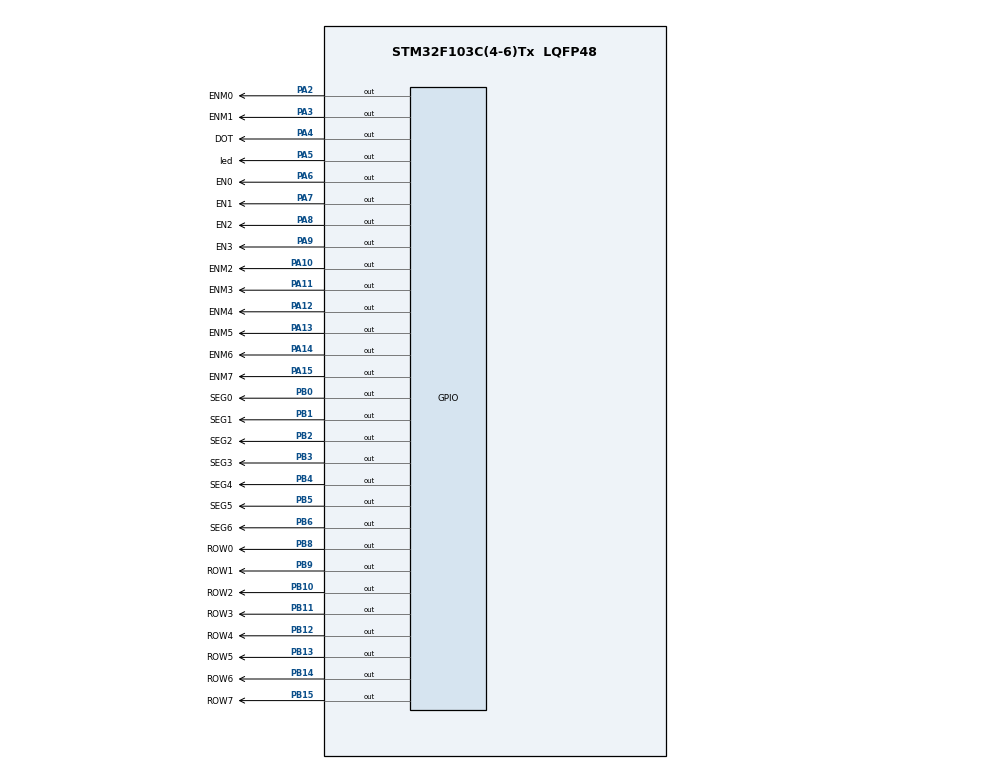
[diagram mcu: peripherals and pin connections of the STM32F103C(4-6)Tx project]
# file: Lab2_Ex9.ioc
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Mcu.Family=STM32F1
Mcu.Name=STM32F103C(4-6)Tx
Mcu.Package=LQFP48
NVIC.PriorityGroup=NVIC_PRIORITYGROUP_4
NVIC.TIM2_IRQn=true\:0\:0\:false\:false\:true\:true\:true
PA10.GPIO_Label=ENM2
PA10.Signal=GPIO_Output
PA11.GPIO_Label=ENM3
PA11.Signal=GPIO_Output
PA12.GPIO_Label=ENM4
PA12.Signal=GPIO_Output
PA13.GPIO_Label=ENM5
PA13.Signal=GPIO_Output
PA14.GPIO_Label=ENM6
PA14.Signal=GPIO_Output
PA15.GPIO_Label=ENM7
PA15.Signal=GPIO_Output
PA2.GPIO_Label=ENM0
PA2.Signal=GPIO_Output
PA3.GPIO_Label=ENM1
PA3.Signal=GPIO_Output
PA4.GPIO_Label=DOT
PA4.Signal=GPIO_Output
PA5.GPIO_Label=led
PA5.Signal=GPIO_Output
PA6.GPIO_Label=EN0
PA6.Signal=GPIO_Output
PA7.GPIO_Label=EN1
PA7.Signal=GPIO_Output
PA8.GPIO_Label=EN2
PA8.Signal=GPIO_Output
PA9.GPIO_Label=EN3
PA9.Signal=GPIO_Output
PB0.GPIO_Label=SEG0
PB0.Signal=GPIO_Output
PB1.GPIO_Label=SEG1
PB1.Signal=GPIO_Output
PB10.GPIO_Label=ROW2
PB10.Signal=GPIO_Output
PB11.GPIO_Label=ROW3
PB11.Signal=GPIO_Output
PB12.GPIO_Label=ROW4
PB12.Signal=GPIO_Output
PB13.GPIO_Label=ROW5
PB13.Signal=GPIO_Output
PB14.GPIO_Label=ROW6
PB14.Signal=GPIO_Output
PB15.GPIO_Label=ROW7
PB15.Signal=GPIO_Output
PB2.GPIO_Label=SEG2
PB2.Signal=GPIO_Output
PB3.GPIO_Label=SEG3
PB3.Signal=GPIO_Output
PB4.GPIO_Label=SEG4
PB4.Signal=GPIO_Output
PB5.GPIO_Label=SEG5
PB5.Signal=GPIO_Output
PB6.GPIO_Label=SEG6
PB6.Signal=GPIO_Output
PB8.GPIO_Label=ROW0
PB8.Signal=GPIO_Output
PB9.GPIO_Label=ROW1
PB9.Signal=GPIO_Output
ProjectManager.HeapSize=0x200
ProjectManager.StackSize=0x400
ProjectManager.TargetToolchain=STM32CubeIDE
RCC.APB1Freq_Value=8000000
RCC.APB2Freq_Value=8000000
TIM2.Period=1
TIM2.Prescaler=7999
VP_SYS_VS_ND.Mode=No_Debug
VP_TIM2_VS_ClockSourceINT.Mode=Internal
board=custom

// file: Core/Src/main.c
/* USER CODE BEGIN Header */
/**
  ******************************************************************************
  * @file           : main.c
  * @brief          : Main program body
  ******************************************************************************
  * @attention
  *
  * <h2><center>&copy; Copyright (c) 2021 STMicroelectronics.
  * All rights reserved.</center></h2>
  *
  * This software component is licensed by ST under BSD 3-Clause license,
  * the "License"; You may not use this file except in compliance with the
  * License. You may obtain a copy of the License at:
  *                        opensource.org/licenses/BSD-3-Clause
  *
  ******************************************************************************
  */
/* USER CODE END Header */
#include "main.h"

TIM_HandleTypeDef htim2;

void SystemClock_Config(void);
static void MX_GPIO_Init(void);
static void MX_TIM2_Init(void);

/* USER CODE BEGIN 0 */
const int MAX_LED_MATRIX = 8;
int index_led_matrix = 0;
uint8_t matrix_buffer[8] = { 0x18,0x24,0x42,0x42,0x7E,0x42,0x42,0x42};
int timer0_counter = 0;
int segcount = 0;
int timer0_flag = 0;
int timer1_flag = 0;
int TIMER_CYCLE = 1;
void setTimer0 ( int duration ) {
	 timer0_counter = duration / TIMER_CYCLE ;
	 timer0_flag = 0;
}
void timer_run () {
	 if( timer0_counter > 0) {
		 timer0_counter--;
		 if( timer0_counter == 0) timer0_flag = 1;
	 }
	 if( segcount > 0) {
		 segcount--;
		 if( segcount == 0) timer1_flag = 1;
	 }
 }

void selectCOL(int col){
	switch(col){
	case 0:
		 HAL_GPIO_WritePin(ENM0_GPIO_Port, ENM0_Pin, GPIO_PIN_RESET);
			break;
	case 1:
		 HAL_GPIO_WritePin(ENM1_GPIO_Port, ENM1_Pin, GPIO_PIN_RESET);
			break;
	case 2:
		 HAL_GPIO_WritePin(ENM2_GPIO_Port, ENM2_Pin, GPIO_PIN_RESET);
			break;
	case 3:
		 HAL_GPIO_WritePin(ENM3_GPIO_Port, ENM3_Pin, GPIO_PIN_RESET);
			break;
	case 4:
		 HAL_GPIO_WritePin(ENM4_GPIO_Port, ENM4_Pin, GPIO_PIN_RESET);
			break;
	case 5:
		 HAL_GPIO_WritePin(ENM5_GPIO_Port, ENM5_Pin, GPIO_PIN_RESET);
			break;
	case 6:
		 HAL_GPIO_WritePin(ENM6_GPIO_Port, ENM6_Pin, GPIO_PIN_RESET);
			break;
	case 7:
		 HAL_GPIO_WritePin(ENM7_GPIO_Port, ENM7_Pin, GPIO_PIN_RESET);
			break;
	default: break;
	}
}
void clearCOL(int col){
	switch(col){
		case 0:
			 HAL_GPIO_WritePin(ENM0_GPIO_Port, ENM0_Pin, GPIO_PIN_SET);
				break;
		case 1:
			 HAL_GPIO_WritePin(ENM1_GPIO_Port, ENM1_Pin, GPIO_PIN_SET);
				break;
		case 2:
			 HAL_GPIO_WritePin(ENM2_GPIO_Port, ENM2_Pin, GPIO_PIN_SET);
				break;
		case 3:
			 HAL_GPIO_WritePin(ENM3_GPIO_Port, ENM3_Pin, GPIO_PIN_SET);
				break;
		case 4:
			 HAL_GPIO_WritePin(ENM4_GPIO_Port, ENM4_Pin, GPIO_PIN_SET);
				break;
		case 5:
			 HAL_GPIO_WritePin(ENM5_GPIO_Port, ENM5_Pin, GPIO_PIN_SET);
				break;
		case 6:
			 HAL_GPIO_WritePin(ENM6_GPIO_Port, ENM6_Pin, GPIO_PIN_SET);
				break;
		case 7:
			 HAL_GPIO_WritePin(ENM7_GPIO_Port, ENM7_Pin, GPIO_PIN_SET);
				break;
		default: break;
		}
}
void displayDOT(uint8_t num, int row){
	switch(row){
	case 0:
			for(int i = 0; i<8; i++){
				if(num&0x80){
					selectCOL(i);
				}
				 num = num<<1;

			}
			HAL_GPIO_WritePin(ROW0_GPIO_Port, ROW0_Pin, GPIO_PIN_RESET);
			break;
	case 1:
		for(int i = 0; i<8; i++){
			if(num&0x80){
				selectCOL(i);
			}
			 num = num<<1;

		}
		HAL_GPIO_WritePin(ROW1_GPIO_Port, ROW1_Pin, GPIO_PIN_RESET);
			break;
	case 2:
		for(int i = 0; i<8; i++){
			if(num&0x80){
				selectCOL(i);
			}
			 num = num<<1;
		}
		HAL_GPIO_WritePin(ROW2_GPIO_Port, ROW2_Pin, GPIO_PIN_RESET);
			break;
	case 3:
		for(int i = 0; i<8; i++){
			if(num&0x80){
				selectCOL(i);
			}
			 num = num<<1;

		}
		HAL_GPIO_WritePin(ROW3_GPIO_Port, ROW3_Pin, GPIO_PIN_RESET);
			break;
	case 4:
		for(int i = 0; i<8; i++){
			if(num&0x80){
				selectCOL(i);
			}
			 num = num<<1;

		}
		HAL_GPIO_WritePin(ROW4_GPIO_Port, ROW4_Pin, GPIO_PIN_RESET);
			break;
	case 5:
		for(int i = 0; i<8; i++){
			if(num&0x80){
				selectCOL(i);
			}
			 num = num<<1;

		}
		HAL_GPIO_WritePin(ROW5_GPIO_Port, ROW5_Pin, GPIO_PIN_RESET);
			break;
	case 6:
		for(int i = 0; i<8; i++){
			if(num&0x80){
				selectCOL(i);
			}
			 num = num<<1;

		}
		HAL_GPIO_WritePin(ROW6_GPIO_Port, ROW6_Pin, GPIO_PIN_RESET);
			break;
	case 7:
		for(int i = 0; i<8; i++){
			if(num&0x80){
				selectCOL(i);
			}
			 num = num<<1;

		}
		HAL_GPIO_WritePin(ROW7_GPIO_Port, ROW7_Pin, GPIO_PIN_RESET);
			break;
	default: break;
	}
}
void clearAllPins(){
	  HAL_GPIO_WritePin(ROW0_GPIO_Port, ROW0_Pin, GPIO_PIN_SET);
	  HAL_GPIO_WritePin(ROW1_GPIO_Port, ROW1_Pin, GPIO_PIN_SET);
	  HAL_GPIO_WritePin(ROW2_GPIO_Port, ROW2_Pin, GPIO_PIN_SET);
	  HAL_GPIO_WritePin(ROW3_GPIO_Port, ROW3_Pin, GPIO_PIN_SET);
	  HAL_GPIO_WritePin(ROW4_GPIO_Port, ROW4_Pin, GPIO_PIN_SET);
	  HAL_GPIO_WritePin(ROW5_GPIO_Port, ROW5_Pin, GPIO_PIN_SET);
	  HAL_GPIO_WritePin(ROW6_GPIO_Port, ROW6_Pin, GPIO_PIN_SET);
	  HAL_GPIO_WritePin(ROW7_GPIO_Port, ROW7_Pin, GPIO_PIN_SET);

	  HAL_GPIO_WritePin(ENM0_GPIO_Port, ENM0_Pin, GPIO_PIN_SET);
	  HAL_GPIO_WritePin(ENM1_GPIO_Port, ENM1_Pin, GPIO_PIN_SET);
	  HAL_GPIO_WritePin(ENM2_GPIO_Port, ENM2_Pin, GPIO_PIN_SET);
	  HAL_GPIO_WritePin(ENM3_GPIO_Port, ENM3_Pin, GPIO_PIN_SET);
	  HAL_GPIO_WritePin(ENM4_GPIO_Port, ENM4_Pin, GPIO_PIN_SET);
	  HAL_GPIO_WritePin(ENM5_GPIO_Port, ENM5_Pin, GPIO_PIN_SET);
	  HAL_GPIO_WritePin(ENM6_GPIO_Port, ENM6_Pin, GPIO_PIN_SET);
	  HAL_GPIO_WritePin(ENM7_GPIO_Port, ENM7_Pin, GPIO_PIN_SET);
}
void clearDOT(uint8_t num, int row){

	switch(row){
		case 0:
			HAL_GPIO_WritePin(ROW0_GPIO_Port, ROW0_Pin, GPIO_PIN_SET);
				for(int i = 0; i<8; i++){
					if(num&0x80){
						clearCOL(i);
					}
					 num = num<<1;
				}
				break;
		case 1:
			HAL_GPIO_WritePin(ROW1_GPIO_Port, ROW1_Pin, GPIO_PIN_SET);
			for(int i = 0; i<8; i++){
				if(num&0x80){
					clearCOL(i);
				}
				 num = num<<1;
			}
				break;
		case 2:
			HAL_GPIO_WritePin(ROW2_GPIO_Port, ROW2_Pin, GPIO_PIN_SET);
			for(int i = 0; i<8; i++){
				if(num&0x80){
					clearCOL(i);
				}
				 num = num<<1;
			}
				break;
		case 3:
			HAL_GPIO_WritePin(ROW3_GPIO_Port, ROW3_Pin, GPIO_PIN_SET);
			for(int i = 0; i<8; i++){
				if(num&0x80){
					clearCOL(i);
				}
				 num = num<<1;
			}
				break;
		case 4:
			HAL_GPIO_WritePin(ROW4_GPIO_Port, ROW4_Pin, GPIO_PIN_SET);
			for(int i = 0; i<8; i++){
				if(num&0x80){
					clearCOL(i);
				}
				 num = num<<1;
			}
				break;
		case 5:
			HAL_GPIO_WritePin(ROW5_GPIO_Port, ROW5_Pin, GPIO_PIN_SET);
			for(int i = 0; i<8; i++){
				if(num&0x80){
					clearCOL(i);
				}
				 num = num<<1;
			}
				break;
		case 6:
			HAL_GPIO_WritePin(ROW6_GPIO_Port, ROW6_Pin, GPIO_PIN_SET);
			for(int i = 0; i<8; i++){
				if(num&0x80){
					clearCOL(i);
				}
				 num = num<<1;

			}
				break;
		case 7:
			HAL_GPIO_WritePin(ROW7_GPIO_Port, ROW7_Pin, GPIO_PIN_SET);
			for(int i = 0; i<8; i++){
				if(num&0x80){
					clearCOL(i);
				}
				 num = num<<1;

			}
				break;
		default: break;
		}
}
void updateLEDMatrix (int row) {
	 switch ( row ) {
		case 0:
			displayDOT(matrix_buffer[0],row);
			break ;
		 case 1:
			 displayDOT(matrix_buffer[1],row);
			 break ;
		case 2:
			displayDOT(matrix_buffer[2],row);
			break ;
		 case 3:
			 displayDOT(matrix_buffer[3],row);
			 break ;
		 case 4:
			 displayDOT(matrix_buffer[4],row);
			 break ;
		 case 5:
			 displayDOT(matrix_buffer[5],row);
			 break ;
		 case 6:
			 displayDOT(matrix_buffer[6],row);
			 break ;
		 case 7:
			 displayDOT(matrix_buffer[7],row);
			 break ;
		 default :
			 break ;
	 }
 }
void updateMatrixBuffer(uint8_t matrix[8]){
	matrix_buffer[0] = matrix[0];
	matrix_buffer[1] = matrix[1];
	matrix_buffer[2] = matrix[2];
	matrix_buffer[3] = matrix[3];
	matrix_buffer[4] = matrix[4];
	matrix_buffer[5] = matrix[5];
	matrix_buffer[6] = matrix[6];
	matrix_buffer[7] = matrix[7];
}

//-----Led 7SEG control-----
void display7SEG(int num){
	switch(num){
	case 0:
		HAL_GPIO_WritePin(SEG0_GPIO_Port, SEG0_Pin, GPIO_PIN_RESET);
		HAL_GPIO_WritePin(SEG1_GPIO_Port, SEG1_Pin, GPIO_PIN_RESET);
		HAL_GPIO_WritePin(SEG2_GPIO_Port, SEG2_Pin, GPIO_PIN_RESET);
		HAL_GPIO_WritePin(SEG3_GPIO_Port, SEG3_Pin, GPIO_PIN_RESET);
		HAL_GPIO_WritePin(SEG4_GPIO_Port, SEG4_Pin, GPIO_PIN_RESET);
		HAL_GPIO_WritePin(SEG5_GPIO_Port, SEG5_Pin, GPIO_PIN_RESET);
		HAL_GPIO_WritePin(SEG6_GPIO_Port, SEG6_Pin, GPIO_PIN_SET);
		break;
	case 1:
		HAL_GPIO_WritePin(SEG0_GPIO_Port, SEG0_Pin, GPIO_PIN_SET);
		HAL_GPIO_WritePin(SEG1_GPIO_Port, SEG1_Pin, GPIO_PIN_RESET);
		HAL_GPIO_WritePin(SEG2_GPIO_Port, SEG2_Pin, GPIO_PIN_RESET);
		HAL_GPIO_WritePin(SEG3_GPIO_Port, SEG3_Pin, GPIO_PIN_SET);
		HAL_GPIO_WritePin(SEG4_GPIO_Port, SEG4_Pin, GPIO_PIN_SET);
		HAL_GPIO_WritePin(SEG5_GPIO_Port, SEG5_Pin, GPIO_PIN_SET);
		HAL_GPIO_WritePin(SEG6_GPIO_Port, SEG6_Pin, GPIO_PIN_SET);
		break;
	case 2:
		HAL_GPIO_WritePin(SEG0_GPIO_Port, SEG0_Pin, GPIO_PIN_RESET);
		HAL_GPIO_WritePin(SEG1_GPIO_Port, SEG1_Pin, GPIO_PIN_RESET);
		HAL_GPIO_WritePin(SEG2_GPIO_Port, SEG2_Pin, GPIO_PIN_SET);
		HAL_GPIO_WritePin(SEG3_GPIO_Port, SEG3_Pin, GPIO_PIN_RESET);
		HAL_GPIO_WritePin(SEG4_GPIO_Port, SEG4_Pin, GPIO_PIN_RESET);
		HAL_GPIO_WritePin(SEG5_GPIO_Port, SEG5_Pin, GPIO_PIN_SET);
		HAL_GPIO_WritePin(SEG6_GPIO_Port, SEG6_Pin, GPIO_PIN_RESET);
		break;
	case 3:
		HAL_GPIO_WritePin(SEG0_GPIO_Port, SEG0_Pin, GPIO_PIN_RESET);
		HAL_GPIO_WritePin(SEG1_GPIO_Port, SEG1_Pin, GPIO_PIN_RESET);
		HAL_GPIO_WritePin(SEG2_GPIO_Port, SEG2_Pin, GPIO_PIN_RESET);
		HAL_GPIO_WritePin(SEG3_GPIO_Port, SEG3_Pin, GPIO_PIN_RESET);
		HAL_GPIO_WritePin(SEG4_GPIO_Port, SEG4_Pin, GPIO_PIN_SET);
		HAL_GPIO_WritePin(SEG5_GPIO_Port, SEG5_Pin, GPIO_PIN_SET);
		HAL_GPIO_WritePin(SEG6_GPIO_Port, SEG6_Pin, GPIO_PIN_RESET);
		break;
	case 4:
		HAL_GPIO_WritePin(SEG0_GPIO_Port, SEG0_Pin, GPIO_PIN_SET);
		HAL_GPIO_WritePin(SEG1_GPIO_Port, SEG1_Pin, GPIO_PIN_RESET);
		HAL_GPIO_WritePin(SEG2_GPIO_Port, SEG2_Pin, GPIO_PIN_RESET);
		HAL_GPIO_WritePin(SEG3_GPIO_Port, SEG3_Pin, GPIO_PIN_SET);
		HAL_GPIO_WritePin(SEG4_GPIO_Port, SEG4_Pin, GPIO_PIN_SET);
		HAL_GPIO_WritePin(SEG5_GPIO_Port, SEG5_Pin, GPIO_PIN_RESET);
		HAL_GPIO_WritePin(SEG6_GPIO_Port, SEG6_Pin, GPIO_PIN_RESET);
		break;
	case 5:
		HAL_GPIO_WritePin(SEG0_GPIO_Port, SEG0_Pin, GPIO_PIN_RESET);
		HAL_GPIO_WritePin(SEG1_GPIO_Port, SEG1_Pin, GPIO_PIN_SET);
		HAL_GPIO_WritePin(SEG2_GPIO_Port, SEG2_Pin, GPIO_PIN_RESET);
		HAL_GPIO_WritePin(SEG3_GPIO_Port, SEG3_Pin, GPIO_PIN_RESET);
		HAL_GPIO_WritePin(SEG4_GPIO_Port, SEG4_Pin, GPIO_PIN_SET);
		HAL_GPIO_WritePin(SEG5_GPIO_Port, SEG5_Pin, GPIO_PIN_RESET);
		HAL_GPIO_WritePin(SEG6_GPIO_Port, SEG6_Pin, GPIO_PIN_RESET);
		break;
	case 6:
		HAL_GPIO_WritePin(SEG0_GPIO_Port, SEG0_Pin, GPIO_PIN_RESET);
		HAL_GPIO_WritePin(SEG1_GPIO_Port, SEG1_Pin, GPIO_PIN_SET);
		HAL_GPIO_WritePin(SEG2_GPIO_Port, SEG2_Pin, GPIO_PIN_RESET);
		HAL_GPIO_WritePin(SEG3_GPIO_Port, SEG3_Pin, GPIO_PIN_RESET);
		HAL_GPIO_WritePin(SEG4_GPIO_Port, SEG4_Pin, GPIO_PIN_RESET);
		HAL_GPIO_WritePin(SEG5_GPIO_Port, SEG5_Pin, GPIO_PIN_RESET);
		HAL_GPIO_WritePin(SEG6_GPIO_Port, SEG6_Pin, GPIO_PIN_RESET);
		break;
	case 7:
		HAL_GPIO_WritePin(SEG0_GPIO_Port, SEG0_Pin, GPIO_PIN_RESET);
		HAL_GPIO_WritePin(SEG1_GPIO_Port, SEG1_Pin, GPIO_PIN_RESET);
		HAL_GPIO_WritePin(SEG2_GPIO_Port, SEG2_Pin, GPIO_PIN_RESET);
		HAL_GPIO_WritePin(SEG3_GPIO_Port, SEG3_Pin, GPIO_PIN_SET);
		HAL_GPIO_WritePin(SEG4_GPIO_Port, SEG4_Pin, GPIO_PIN_SET);
		HAL_GPIO_WritePin(SEG5_GPIO_Port, SEG5_Pin, GPIO_PIN_SET);
		HAL_GPIO_WritePin(SEG6_GPIO_Port, SEG6_Pin, GPIO_PIN_SET);
		break;
	case 8:
		HAL_GPIO_WritePin(SEG0_GPIO_Port, SEG0_Pin, GPIO_PIN_RESET);
		HAL_GPIO_WritePin(SEG1_GPIO_Port, SEG1_Pin, GPIO_PIN_RESET);
		HAL_GPIO_WritePin(SEG2_GPIO_Port, SEG2_Pin, GPIO_PIN_RESET);
		HAL_GPIO_WritePin(SEG3_GPIO_Port, SEG3_Pin, GPIO_PIN_RESET);
		HAL_GPIO_WritePin(SEG4_GPIO_Port, SEG4_Pin, GPIO_PIN_RESET);
		HAL_GPIO_WritePin(SEG5_GPIO_Port, SEG5_Pin, GPIO_PIN_RESET);
		HAL_GPIO_WritePin(SEG6_GPIO_Port, SEG6_Pin, GPIO_PIN_RESET);
		break;
	case 9:
		HAL_GPIO_WritePin(SEG0_GPIO_Port, SEG0_Pin, GPIO_PIN_RESET);
		HAL_GPIO_WritePin(SEG1_GPIO_Port, SEG1_Pin, GPIO_PIN_RESET);
		HAL_GPIO_WritePin(SEG2_GPIO_Port, SEG2_Pin, GPIO_PIN_RESET);
		HAL_GPIO_WritePin(SEG3_GPIO_Port, SEG3_Pin, GPIO_PIN_RESET);
		HAL_GPIO_WritePin(SEG4_GPIO_Port, SEG4_Pin, GPIO_PIN_SET);
		HAL_GPIO_WritePin(SEG5_GPIO_Port, SEG5_Pin, GPIO_PIN_RESET);
		HAL_GPIO_WritePin(SEG6_GPIO_Port, SEG6_Pin, GPIO_PIN_RESET);
		break;
	}

}
const int MAX_LED = 4;
 int index_led = 0;
 int led_buffer[4] = {2 , 3 , 0 , 8};
 void setTimer1 ( int duration ) {
 	 segcount = duration / MAX_LED;
 	 timer1_flag = 0;
 }
 void update7SEG ( int index ) {
 switch ( index ) {
	 case 0:
	 // Display the first 7 SEG with led_buffer [0]
		 HAL_GPIO_WritePin(EN0_GPIO_Port, EN0_Pin,  GPIO_PIN_RESET);
		 HAL_GPIO_WritePin(EN1_GPIO_Port, EN1_Pin,  GPIO_PIN_SET);
		 HAL_GPIO_WritePin(EN2_GPIO_Port, EN2_Pin,  GPIO_PIN_SET);
		 HAL_GPIO_WritePin(EN3_GPIO_Port, EN3_Pin,  GPIO_PIN_SET);
		 display7SEG(led_buffer[0]);
		 break ;
	 case 1:
	 // Display the second 7 SEG with led_buffer [1]
		 HAL_GPIO_WritePin(EN0_GPIO_Port, EN0_Pin,  GPIO_PIN_SET);
		 HAL_GPIO_WritePin(EN1_GPIO_Port, EN1_Pin,  GPIO_PIN_RESET);
		 HAL_GPIO_WritePin(EN2_GPIO_Port, EN2_Pin,  GPIO_PIN_SET);
		 HAL_GPIO_WritePin(EN3_GPIO_Port, EN3_Pin,  GPIO_PIN_SET);
		 display7SEG(led_buffer[1]);
		 break ;
	 case 2:
	 // Display the third 7 SEG with led_buffer [2]
		 HAL_GPIO_WritePin(EN0_GPIO_Port, EN0_Pin,  GPIO_PIN_SET);
		 HAL_GPIO_WritePin(EN1_GPIO_Port, EN1_Pin,  GPIO_PIN_SET);
		 HAL_GPIO_WritePin(EN2_GPIO_Port, EN2_Pin,  GPIO_PIN_RESET);
		 HAL_GPIO_WritePin(EN3_GPIO_Port, EN3_Pin,  GPIO_PIN_SET);
		 display7SEG(led_buffer[2]);
		 break ;
	 case 3:
	 // Display the forth 7 SEG with led_buffer [3]
		 HAL_GPIO_WritePin(EN0_GPIO_Port, EN0_Pin,  GPIO_PIN_SET);
		 HAL_GPIO_WritePin(EN1_GPIO_Port, EN1_Pin,  GPIO_PIN_SET);
		 HAL_GPIO_WritePin(EN2_GPIO_Port, EN2_Pin,  GPIO_PIN_SET);
		 HAL_GPIO_WritePin(EN3_GPIO_Port, EN3_Pin,  GPIO_PIN_RESET);
		 display7SEG(led_buffer[3]);
		 break ;
	 default :
		 break ;
	 }
 }
/* USER CODE END 0 */

int main(void)
{

  /* MCU Configuration--------------------------------------------------------*/

  /* Reset of all peripherals, Initializes the Flash interface and the Systick. */
  HAL_Init();

  /* Configure the system clock */
  SystemClock_Config();

  /* Initialize all configured peripherals */
  MX_GPIO_Init();
  MX_TIM2_Init();
  /* USER CODE BEGIN 2 */
  HAL_TIM_Base_Start_IT(&htim2);
  /* USER CODE END 2 */

  /* Infinite loop */
  /* USER CODE BEGIN WHILE */
  setTimer0(2);
  setTimer1(400);
  int first = 1;
  //int firstScroll = 1;
  while (1)
  {
	  if(first == 1){
		  clearAllPins();
		  first = 0;
	  }

		  updateLEDMatrix(index_led_matrix);
		  if(timer0_flag==1){
			 clearDOT(matrix_buffer[index_led_matrix],index_led_matrix);
			  ++index_led_matrix;
			  if(index_led_matrix>8){
				  index_led_matrix = 0;

			  }
			  setTimer0(2);
		  }
		  if(timer1_flag == 1){
			  HAL_GPIO_TogglePin ( led_GPIO_Port , led_Pin ) ;
				HAL_GPIO_TogglePin ( DOT_GPIO_Port , DOT_Pin ) ;
			update7SEG(index_led++);
			if(index_led>3) index_led=0;
			setTimer1(400);
		  }

    /* USER CODE END WHILE */

  }
}

void SystemClock_Config(void)
{
  RCC_OscInitTypeDef RCC_OscInitStruct = {0};
  RCC_ClkInitTypeDef RCC_ClkInitStruct = {0};

  /** Initializes the RCC Oscillators according to the specified parameters
  * in the RCC_OscInitTypeDef structure.
  */
  RCC_OscInitStruct.OscillatorType = RCC_OSCILLATORTYPE_HSI;
  RCC_OscInitStruct.HSIState = RCC_HSI_ON;
  RCC_OscInitStruct.HSICalibrationValue = RCC_HSICALIBRATION_DEFAULT;
  RCC_OscInitStruct.PLL.PLLState = RCC_PLL_NONE;
  if (HAL_RCC_OscConfig(&RCC_OscInitStruct) != HAL_OK)
  {
    Error_Handler();
  }
  /** Initializes the CPU, AHB and APB buses clocks
  */
  RCC_ClkInitStruct.ClockType = RCC_CLOCKTYPE_HCLK|RCC_CLOCKTYPE_SYSCLK
                              |RCC_CLOCKTYPE_PCLK1|RCC_CLOCKTYPE_PCLK2;
  RCC_ClkInitStruct.SYSCLKSource = RCC_SYSCLKSOURCE_HSI;
  RCC_ClkInitStruct.AHBCLKDivider = RCC_SYSCLK_DIV1;
  RCC_ClkInitStruct.APB1CLKDivider = RCC_HCLK_DIV1;
  RCC_ClkInitStruct.APB2CLKDivider = RCC_HCLK_DIV1;

  if (HAL_RCC_ClockConfig(&RCC_ClkInitStruct, FLASH_LATENCY_0) != HAL_OK)
  {
    Error_Handler();
  }
}

static void MX_TIM2_Init(void)
{

  TIM_ClockConfigTypeDef sClockSourceConfig = {0};
  TIM_MasterConfigTypeDef sMasterConfig = {0};

  htim2.Instance = TIM2;
  htim2.Init.Prescaler = 7999;
  htim2.Init.CounterMode = TIM_COUNTERMODE_UP;
  htim2.Init.Period = 1;
  htim2.Init.ClockDivision = TIM_CLOCKDIVISION_DIV1;
  htim2.Init.AutoReloadPreload = TIM_AUTORELOAD_PRELOAD_DISABLE;
  if (HAL_TIM_Base_Init(&htim2) != HAL_OK)
  {
    Error_Handler();
  }
  sClockSourceConfig.ClockSource = TIM_CLOCKSOURCE_INTERNAL;
  if (HAL_TIM_ConfigClockSource(&htim2, &sClockSourceConfig) != HAL_OK)
  {
    Error_Handler();
  }
  sMasterConfig.MasterOutputTrigger = TIM_TRGO_RESET;
  sMasterConfig.MasterSlaveMode = TIM_MASTERSLAVEMODE_DISABLE;
  if (HAL_TIMEx_MasterConfigSynchronization(&htim2, &sMasterConfig) != HAL_OK)
  {
    Error_Handler();
  }

}

static void MX_GPIO_Init(void)
{
  GPIO_InitTypeDef GPIO_InitStruct = {0};

  /* GPIO Ports Clock Enable */
  __HAL_RCC_GPIOA_CLK_ENABLE();
  __HAL_RCC_GPIOB_CLK_ENABLE();

  /*Configure GPIO pin Output Level */
  HAL_GPIO_WritePin(GPIOA, ENM0_Pin|ENM1_Pin|DOT_Pin|led_Pin
                          |EN0_Pin|EN1_Pin|EN2_Pin|EN3_Pin
                          |ENM2_Pin|ENM3_Pin|ENM4_Pin|ENM5_Pin
                          |ENM6_Pin|ENM7_Pin, GPIO_PIN_RESET);

  /*Configure GPIO pin Output Level */
  HAL_GPIO_WritePin(GPIOB, SEG0_Pin|SEG1_Pin|SEG2_Pin|ROW2_Pin
                          |ROW3_Pin|ROW4_Pin|ROW5_Pin|ROW6_Pin
                          |ROW7_Pin|SEG3_Pin|SEG4_Pin|SEG5_Pin
                          |SEG6_Pin|ROW0_Pin|ROW1_Pin, GPIO_PIN_RESET);

  /*Configure GPIO pins : ENM0_Pin ENM1_Pin DOT_Pin led_Pin
                           EN0_Pin EN1_Pin EN2_Pin EN3_Pin
                           ENM2_Pin ENM3_Pin ENM4_Pin ENM5_Pin
                           ENM6_Pin ENM7_Pin */
  GPIO_InitStruct.Pin = ENM0_Pin|ENM1_Pin|DOT_Pin|led_Pin
                          |EN0_Pin|EN1_Pin|EN2_Pin|EN3_Pin
                          |ENM2_Pin|ENM3_Pin|ENM4_Pin|ENM5_Pin
                          |ENM6_Pin|ENM7_Pin;
  GPIO_InitStruct.Mode = GPIO_MODE_OUTPUT_PP;
  GPIO_InitStruct.Pull = GPIO_NOPULL;
  GPIO_InitStruct.Speed = GPIO_SPEED_FREQ_LOW;
  HAL_GPIO_Init(GPIOA, &GPIO_InitStruct);

  /*Configure GPIO pins : SEG0_Pin SEG1_Pin SEG2_Pin ROW2_Pin
                           ROW3_Pin ROW4_Pin ROW5_Pin ROW6_Pin
                           ROW7_Pin SEG3_Pin SEG4_Pin SEG5_Pin
                           SEG6_Pin ROW0_Pin ROW1_Pin */
  GPIO_InitStruct.Pin = SEG0_Pin|SEG1_Pin|SEG2_Pin|ROW2_Pin
                          |ROW3_Pin|ROW4_Pin|ROW5_Pin|ROW6_Pin
                          |ROW7_Pin|SEG3_Pin|SEG4_Pin|SEG5_Pin
                          |SEG6_Pin|ROW0_Pin|ROW1_Pin;
  GPIO_InitStruct.Mode = GPIO_MODE_OUTPUT_PP;
  GPIO_InitStruct.Pull = GPIO_NOPULL;
  GPIO_InitStruct.Speed = GPIO_SPEED_FREQ_LOW;
  HAL_GPIO_Init(GPIOB, &GPIO_InitStruct);

}

/* USER CODE BEGIN 4 */
void HAL_TIM_PeriodElapsedCallback ( TIM_HandleTypeDef * htim )
{
	timer_run () ;
 // YOUR OTHER CODE
}
/* USER CODE END 4 */

void Error_Handler(void)
{
  __disable_irq();
  while (1)
  {
  }
}

/************************ (C) COPYRIGHT STMicroelectronics *****END OF FILE****/
